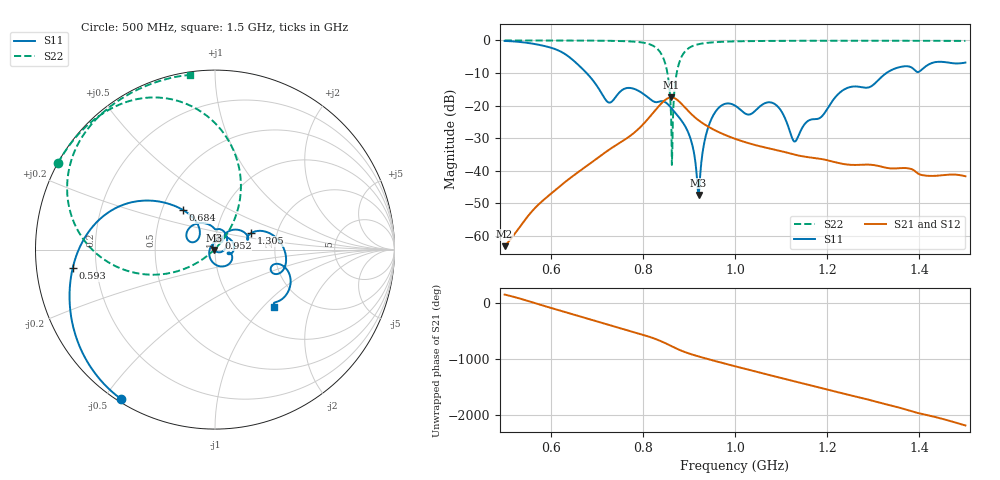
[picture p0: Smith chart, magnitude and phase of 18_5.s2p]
! TOUCHSTONE file generated by CST MICROWAVE STUDIO
! Date and time: Fri Oct  2 19:12:26 2020
! Project name: Scenario_1_Free_Space_out_of_line.cst
! Parameters = {Lambda=346.42; Step_1=17.321; dy1=52.843; dx1=866; L_HA=400; MT=2.54; Rad_Dielectric=30; Rad_Lower=7.3; Rad_Upper=30; a_HA=580; a_WG=246; b_HA=500; b_WG=121; c_HA=0; c_WG=187; d_feed=85; h_feed=15; h_lower=18; h_upper=40}
! Header version: 2018
! Port assignment regex: !\s*Touchstone port\s*([0-9]+)\s*=\s*(CST MWS port|CST DS port)\s*([0-9]+|Zmin|Zmax)\s*\(\"(.*)\"\)(\s*mode\s*([0-9]+))?.*
! Touchstone port assignment:
! Touchstone port 1 = CST MWS port 1 ("")
! Touchstone port 2 = CST MWS port 2 ("")
# GHz S DB R 50
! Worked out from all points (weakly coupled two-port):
!   1003 points, 500 MHz to 1.5 GHz, reference 50 ohm
!   highest |S21| = -17.50 dB at 862 MHz (marker M1); lowest = -63.2 dB at 500 MHz (marker M2)
!   lowest |S11| = -47.5 dB at 921 MHz (marker M3), VSWR 1.01, Z = 49.6 - j0.228 ohm
!   |S11| at or under -10 dB: 677.8 MHz to 1.329 GHz (650.9 MHz wide, 64.9 % of centre)
!   |S22| runs from -38.2 to 0.0 dB; largest |S21 - S12| = 1.1e-05
!   S11 on the Smith chart (normalised r, x): 500 MHz: 0.01, -0.55; 593 MHz: 0.11, -0.06; 684 MHz: 0.64, +0.31; 952 MHz: 1.03, +0.14; 1.305 GHz: 1.48, +0.29; 1.5 GHz: 1.43, -1.15
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0.5  -0.15 -122.4  -63.18 143.2  -63.18 143.2  -0.01 151.2
0.593  -1.94 -172.5  -47.97 -76.2  -47.97 -76.2  -0.02 144.7
0.667  -8.46 136.5  -39.71 107.4  -39.70 107.4  -0.04 138.4
0.684  -10.96 128.9  -37.98 67.3  -37.98 67.3  -0.05 136.7
0.726  -19.07 144.3  -33.63 -33.4  -33.63 -33.4  -0.11 131.6
0.77  -14.57 140.7  -29.56 -139.1  -29.56 -139.1  -0.28 123.7
0.834  -18.84 85.1  -20.29 52.4  -20.29 52.4  -2.96 90.5
0.852  -19.31 58.2  -17.93 -12.9  -17.93 -12.9  -9.05 66.0
0.862  -20.81 43.0  -17.50 -53.2  -17.50 -53.2  -26.95 50.7
0.882  -24.25 9.8  -19.19 -129.6  -19.19 -129.6  -5.65 -167.7
0.905  -30.88 -32.2  -22.59 162.3  -22.59 162.3  -1.91 168.9
0.921  -47.48 -147.0  -24.53 122.8  -24.53 122.8  -1.15 159.9
0.935  -30.23 111.0  -25.89 90.3  -25.89 90.3  -0.82 154.5
0.952  -23.22 74.2  -27.26 52.1  -27.26 52.1  -0.58 149.7
1  -20.01 -7.4  -30.21 -51.4  -30.21 -51.4  -0.28 140.9
1.085  -19.42 -59.8  -33.48 130.9  -33.48 130.9  -0.14 131.4
1.129  -31.05 157.8  -35.06 39.8  -35.06 39.8  -0.11 127.6
1.167  -24.24 47.1  -36.00 -36.6  -36.00 -36.6  -0.10 124.5
1.237  -15.05 37.5  -37.99 -180.0  -37.98 -180.0  -0.09 119.1
1.305  -13.02 24.6  -38.36 39.9  -38.36 40.0  -0.09 113.9
1.334  -9.52 13.7  -39.24 -20.8  -39.24 -20.8  -0.09 111.7
1.5  -6.80 -44.0  -41.70 -23.9  -41.70 -23.9  -0.14 98.2
